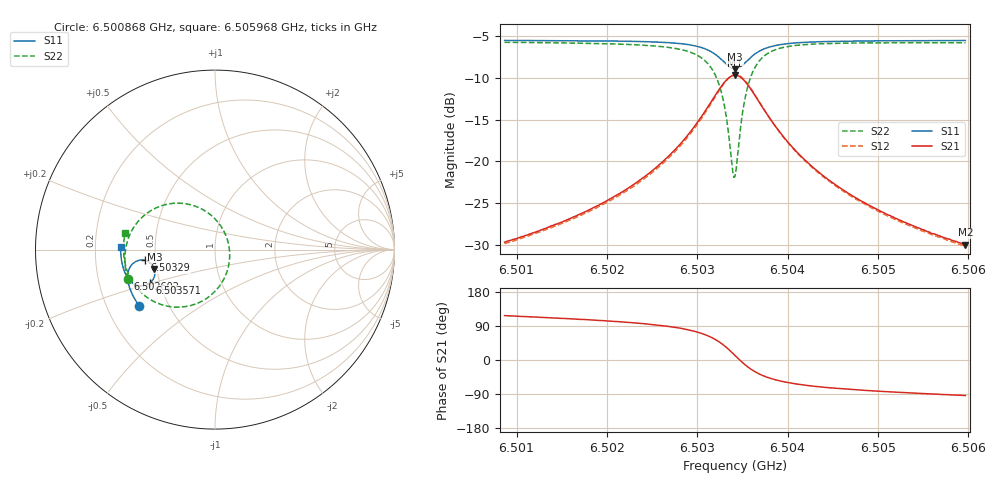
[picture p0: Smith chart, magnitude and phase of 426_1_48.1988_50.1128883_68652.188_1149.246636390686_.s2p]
#  HZ  S  RI  R  50.00
! Rohde & Schwarz Vector Network Analyzer
! Rohde-Schwarz,ZNB20-2Port,1311601062101988,3.16
! Created: UTC 3/20/2024, 11:55:07 AM
! freq[Hz]  re:S11  im:S11  re:S21  im:S21  re:S12  im:S12  re:S22  im:S22
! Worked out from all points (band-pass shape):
!   401 points, 6.500868 GHz to 6.505968 GHz, reference 50 ohm
!   highest |S21| = -9.71 dB at 6.503418 GHz (marker M1); lowest = -29.9 dB at 6.505968 GHz (marker M2)
!   |S21| within 3 dB of the highest: 6.503164 GHz to 6.503673 GHz (509.4 kHz wide, 0.00783 % of centre)
!   lowest |S11| = -9.0 dB at 6.503418 GHz (marker M3), VSWR 2.10, Z = 24.3 - j5.98 ohm
!   |S11| at or under -10 dB: nowhere
!   |S22| runs from -21.9 to -5.8 dB; largest |S21 - S12| = 0.011
!   S11 on the Smith chart (normalised r, x): 6.500868 GHz: 0.34, -0.30; 6.502602 GHz: 0.33, -0.15; 6.50329 GHz: 0.44, -0.06; 6.503571 GHz: 0.44, -0.20; 6.505968 GHz: 0.31, +0.01
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6.5008676e9  -0.4226 -0.3139  -0.0151 0.0294  -0.0133 0.0295  -0.487 -0.1623
6.5017219e9  -0.4599 -0.2515  -0.0144 0.047  -0.012 0.0465  -0.5016 -0.0728
6.5022064e9  -0.4771 -0.2089  -0.0115 0.0669  -0.00846 0.0658  -0.4993 -0.00483
6.5025762e9  -0.4861 -0.1685  -0.00294 0.0953  0.000741 0.093  -0.4809 0.0681
6.5026017e9  -0.4864 -0.1652  -0.00183 0.0979  0.00189 0.0956  -0.4783 0.0744
6.5028949e9  -0.4832 -0.1207  0.0249 0.1414  0.0288 0.1371  -0.4229 0.163
6.5030862e9  -0.4623 -0.0824  0.0783 0.1834  0.0808 0.1772  -0.3214 0.2356
6.5032009e9  -0.4303 -0.0617  0.1464 0.2013  0.1472 0.1949  -0.1984 0.2589
6.5032902e9  -0.3903 -0.0597  0.2251 0.1858  0.2254 0.1805  -0.0626 0.2198
6.5033284e9  -0.3711 -0.067  0.2613 0.1631  0.2623 0.1585  -0.00271 0.1739
6.5033922e9  -0.3443 -0.0933  0.3091 0.1  0.3117 0.0951  0.0699 0.0527
6.5034177e9  -0.3379 -0.1077  0.3198 0.0679  0.3228 0.0622  0.0811 -0.00712
6.5034432e9  -0.3348 -0.1233  0.3234 0.0346  0.327 0.0277  0.0795 -0.0682
6.5035069e9  -0.3417 -0.1602  0.3058 -0.0432  0.308 -0.0531  0.0251 -0.203
6.5035707e9  -0.3626 -0.1862  0.2635 -0.0972  0.2624 -0.1085  -0.0704 -0.2859
6.5036727e9  -0.402 -0.2017  0.1892 -0.1336  0.1839 -0.1431  -0.2196 -0.3207
6.5038384e9  -0.448 -0.1919  0.1078 -0.1308  0.1009 -0.1358  -0.3661 -0.2745
6.5040169e9  -0.4755 -0.1706  0.0637 -0.111  0.0575 -0.1133  -0.438 -0.2101
6.5042719e9  -0.496 -0.1405  0.0338 -0.0868  0.029 -0.0873  -0.4813 -0.1383
6.5046799e9  -0.5124 -0.0985  0.014 -0.0628  0.0108 -0.0623  -0.5044 -0.0596
6.5051262e9  -0.521 -0.0576  0.00515 -0.0475  0.00286 -0.0468  -0.5098 0.0019
6.5059677e9  -0.5259 0.0135  -0.0021 -0.0319  -0.00343 -0.0311  -0.5019 0.0901
